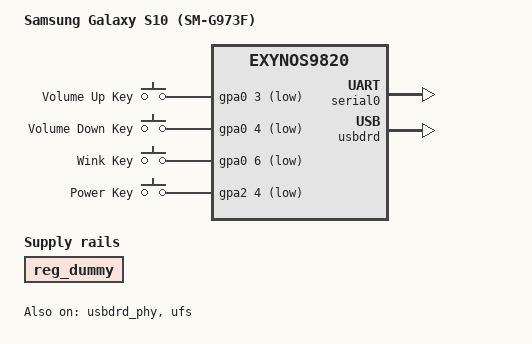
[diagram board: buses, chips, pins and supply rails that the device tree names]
// SPDX-License-Identifier: GPL-2.0 OR BSD-3-Clause
/*
 * Samsung Galaxy S10 (beyond1lte/SM-G973F) device tree source
 *
 * Copyright (c) 2025 chiffathefox <chiffathefoxx@gmail.com>
 */

/dts-v1/;
#include "exynos9820.dtsi"
#include <dt-bindings/gpio/gpio.h>
#include <dt-bindings/input/input.h>

/ {
	model = "Samsung Galaxy S10 (SM-G973F)";
	compatible = "samsung,beyond1lte", "samsung,exynos9820";
	chassis-type = "handset";

	chosen {
		#address-cells = <2>;
		#size-cells = <1>;
		ranges;
		stdout-path = &serial0;

		framebuffer0: framebuffer@ca000000 {
			compatible = "simple-framebuffer";
			reg = <0x0 0xca000000 (1440 * 3040 * 4)>;
			width = <1440>;
			height = <3040>;
			stride = <(1440 * 4)>;
			format = "a8r8g8b8";
		};
	};

	gpio-keys {
		compatible = "gpio-keys";

		pinctrl-0 = <&key_volup &key_voldown &key_wink &key_power>;
		pinctrl-names = "default";

		key-volup {
			label = "Volume Up Key";
			linux,code = <KEY_VOLUMEUP>;
			gpios = <&gpa0 3 GPIO_ACTIVE_LOW>;
		};

		key-voldown {
			label = "Volume Down Key";
			linux,code = <KEY_VOLUMEDOWN>;
			gpios = <&gpa0 4 GPIO_ACTIVE_LOW>;
		};

		key-wink {
			label = "Wink Key";
			linux,code = <KEY_COFFEE>;
			gpios = <&gpa0 6 GPIO_ACTIVE_LOW>;
		};

		key-power {
			label = "Power Key";
			linux,code = <KEY_POWER>;
			gpios = <&gpa2 4 GPIO_ACTIVE_LOW>;
			wakeup-source;
		};
	};

	memory@80000000 {
		device_type = "memory";
		reg = <0x0 0x80000000 0x80000000>,
		      <0x00000008 0x80000000 0x80000000>,
		      <0x00000009 0x00000000 0x80000000>;
	};

	reserved-memory {
		#address-cells = <2>;
		#size-cells = <1>;
		ranges;

		framebuffer_region@ca000000 {
			reg = <0x0 0xca000000 (1440 * 3040 * 4)>;
			no-map;
		};
	};

	reg_dummy: regulator-0 {
		compatible = "regulator-fixed";
		regulator-name = "dummy_reg";
	};
};

&oscclk {
	clock-frequency = <26000000>;
};

&pinctrl_alive {
	key_volup: key-volup-pins {
		samsung,pins = "gpa0-3";
		samsung,pin-function = <EXYNOS_PIN_FUNC_EINT>;
		samsung,pin-pud = <EXYNOS_PIN_PULL_NONE>;
		samsung,pin-drv = <EXYNOS5433_PIN_DRV_FAST_SR1>;
	};

	key_voldown: key-voldown-pins {
		samsung,pins = "gpa0-4";
		samsung,pin-function = <EXYNOS_PIN_FUNC_EINT>;
		samsung,pin-pud = <EXYNOS_PIN_PULL_NONE>;
		samsung,pin-drv = <EXYNOS5433_PIN_DRV_FAST_SR1>;
	};

	key_wink: key-wink-pins {
		samsung,pins = "gpa0-6";
		samsung,pin-function = <EXYNOS_PIN_FUNC_EINT>;
		samsung,pin-pud = <EXYNOS_PIN_PULL_NONE>;
		samsung,pin-drv = <EXYNOS5433_PIN_DRV_FAST_SR1>;
	};

	key_power: key-power-pins {
		samsung,pins = "gpa2-4";
		samsung,pin-function = <EXYNOS_PIN_FUNC_EINT>;
		samsung,pin-pud = <EXYNOS_PIN_PULL_NONE>;
		samsung,pin-drv = <EXYNOS5433_PIN_DRV_FAST_SR1>;
	};
};

&serial0 {
	status = "okay";
};

&usbdrd_phy {
	status = "okay";
};

&usbdrd {
	status = "okay";
	vdd10-supply = <&reg_dummy>;
	vdd33-supply = <&reg_dummy>;
};

&ufs {
	status = "okay";
};
